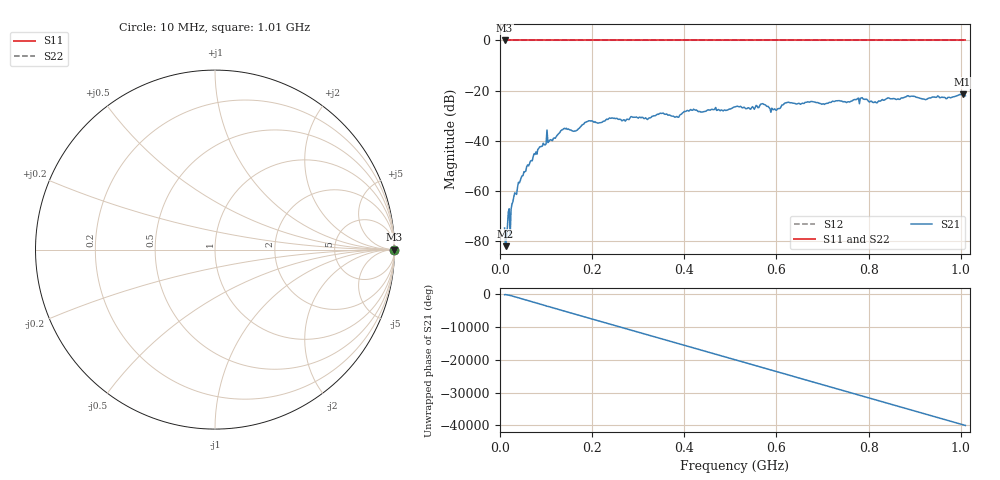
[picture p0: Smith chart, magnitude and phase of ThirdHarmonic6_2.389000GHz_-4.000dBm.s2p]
! 8/17/2025 3:51:33 AM
! C:\ANRITSUVNA\TEMP\TEMP.S2P
! CHANNEL.1
! TR.MEASUREMENT
! RAW.DATA
! RF.CORRECTION.OFF
! AVERAGING.OFF
! IF.BANDWIDTH: 5KHZ
! SWEEPTYPE:  FREQ.SWEEP(Linear)
! Reference Plane Port Info
! PORT:  PORT1  PORT2
! DISTANCE:  0  m  0  m
! TIME:  0  s  0  s
! PHASE.OFFSET:  0  deg.  0  deg.
! LOSS:  0  dB  0  dB
! REF.LOSS:  0  dB  0  dB
! REF.FREQ:  0  Hz  0  Hz
! Power Info
! POWER:  -20  dBm  -20  dBm
! EFF.POWER:  -20  dBm  -20  dBm
! SOURCE.ATTEN:  0  dB  0  dB
! TEST.ATTEN:  0  dB  0  dB
# GHZ S RI R 50.0
! FREQ.GHZ  S11RE  S11IM  S21RE  S21IM  S12RE  S12IM  S22RE  S22IM
!; PortSelection: Port_12
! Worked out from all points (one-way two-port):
!   501 points, 10 MHz to 1.01 GHz, reference 50 ohm
!   highest |S21| = -21.49 dB at 1.004 GHz (marker M1); lowest = -82.0 dB at 12 MHz (marker M2)
!   lowest |S11| = 0.0 dB at 10 MHz (marker M3)
!   |S11| at or under -10 dB: nowhere
!   |S22| runs from 0.0 to 0.0 dB; largest |S21 - S12| = 1.1
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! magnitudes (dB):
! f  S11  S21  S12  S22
! 10 MHz  0.0  -74.8  0.0  0.0
! 12 MHz  0.0  -82.0  0.0  0.0
! 26 MHz  0.0  -65.2  0.0  0.0
! 28 MHz  0.0  -64.4  0.0  0.0
! 42 MHz  0.0  -56.8  0.0  0.0
! 78 MHz  0.0  -44.5  0.0  0.0
! 136 MHz  0.0  -35.6  0.0  0.0
! 162 MHz  0.0  -36.1  0.0  0.0
! 178 MHz  0.0  -33.7  0.0  0.0
! 344 MHz  0.0  -29.5  0.0  0.0
! 384 MHz  0.0  -30.3  0.0  0.0
! 410 MHz  0.0  -28.1  0.0  0.0
! 510 MHz  0.0  -26.5  0.0  0.0
! 570 MHz  0.0  -25.2  0.0  0.0
! 596 MHz  0.0  -27.3  0.0  0.0
! 622 MHz  0.0  -24.8  0.0  0.0
! 678 MHz  0.0  -24.4  0.0  0.0
! 786 MHz  0.0  -22.8  0.0  0.0
! 814 MHz  0.0  -24.4  0.0  0.0
! 844 MHz  0.0  -22.9  0.0  0.0
! 1.004 GHz  0.0  -21.5  0.0  0.0
! 1.01 GHz  0.0  -22.1  0.0  0.0
